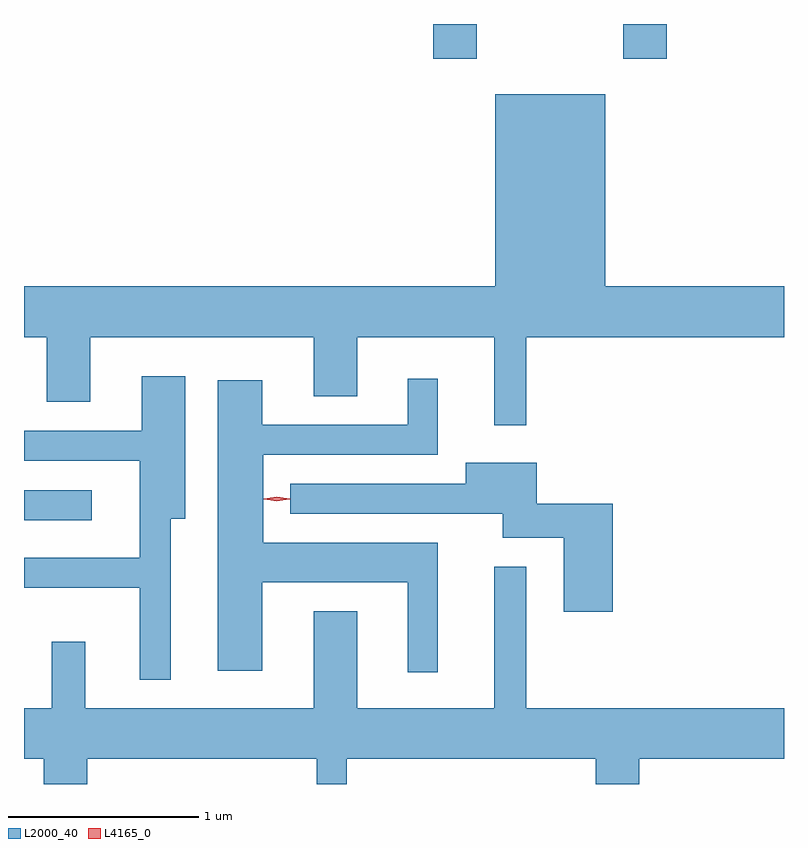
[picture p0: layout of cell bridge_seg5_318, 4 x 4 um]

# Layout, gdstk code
import gdstk
lib = gdstk.Library(unit=1e-6, precision=1e-09)
def R(c, l, rs):  # rectangles x0, y0, x1, y1
    for r in rs: c.add(gdstk.rectangle(r[:2], r[2:], *l))
def P(c, l, *ps):  # polygons
    for p in ps: c.add(gdstk.Polygon(p, *l))
L2000_40 = (2000, 40)
L4165_0 = (4165, 0)

bridge_seg5_318 = lib.new_cell('bridge_seg5_318')
R(bridge_seg5_318, L2000_40, [(667.896,1449.171,668.253,1449.329), (670.051,1451.601,670.279,1451.784), (671.051,1451.601,671.279,1451.784)])
P(bridge_seg5_318, L2000_40, [(667.896,1450.136),(668.016,1450.136),(668.016,1449.796),(668.244,1449.796),(668.244,1450.136),(669.421,1450.136),(669.421,1449.826),(669.649,1449.826),(669.649,1450.136),(670.371,1450.136),(670.371,1449.673),(670.539,1449.673),(670.539,1450.136),(671.896,1450.136),(671.896,1450.404),(670.954,1450.404),(670.954,1451.414),(670.376,1451.414),(670.376,1450.404),(667.896,1450.404)],
  [(668.669,1449.181),(668.744,1449.181),(668.744,1449.929),(668.516,1449.929),(668.516,1449.644),(667.896,1449.644),(667.896,1449.486),(668.506,1449.486),(668.506,1448.974),(667.896,1448.974),(667.896,1448.816),(668.506,1448.816),(668.506,1448.333),(668.669,1448.333)],
  [(670.074,1449.054),(669.154,1449.054),(669.154,1449.516),(670.074,1449.516),(670.074,1449.918),(669.916,1449.918),(669.916,1449.674),(669.149,1449.674),(669.149,1449.909),(668.916,1449.909),(668.916,1448.381),(669.149,1448.381),(669.149,1448.846),(669.916,1448.846),(669.916,1448.373),(670.074,1448.373)],
  [(670.994,1449.259),(670.594,1449.259),(670.594,1449.474),(670.221,1449.474),(670.221,1449.364),(669.298,1449.364),(669.298,1449.206),(670.416,1449.206),(670.416,1449.081),(670.736,1449.081),(670.736,1448.691),(670.994,1448.691)],
  [(668.229,1447.916),(669.436,1447.916),(669.436,1447.784),(669.594,1447.784),(669.594,1447.916),(670.906,1447.916),(670.906,1447.784),(671.134,1447.784),(671.134,1447.916),(671.896,1447.916),(671.896,1448.184),(670.539,1448.184),(670.539,1448.928),(670.371,1448.928),(670.371,1448.184),(669.649,1448.184),(669.649,1448.694),(669.421,1448.694),(669.421,1448.184),(668.219,1448.184),(668.219,1448.534),(668.041,1448.534),(668.041,1448.184),(667.896,1448.184),(667.896,1447.916),(668.001,1447.916),(668.001,1447.784),(668.229,1447.784)])
P(bridge_seg5_318, L4165_0, [(669.227,1449.275),(669.158,1449.284),(669.157,1449.285),(669.158,1449.285),(669.227,1449.295),(669.296,1449.285),(669.296,1449.285),(669.296,1449.284)],
  [(669.226,1449.272),(669.16,1449.282),(669.16,1449.282),(669.16,1449.283),(669.226,1449.292),(669.292,1449.283),(669.293,1449.282),(669.292,1449.282)])

lib.write_gds('bridge_seg5_318.gds')
